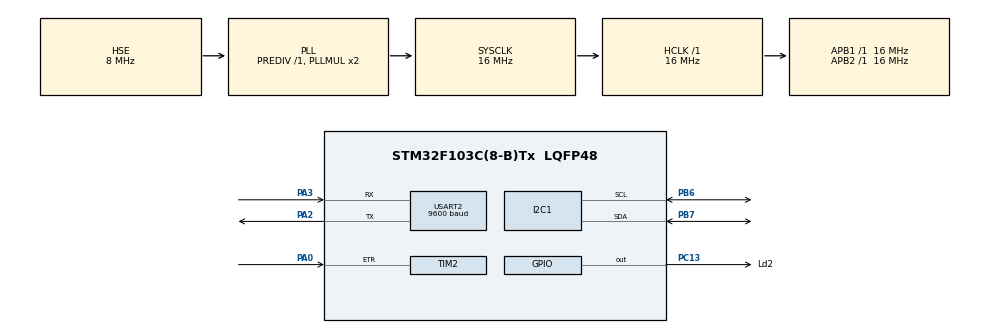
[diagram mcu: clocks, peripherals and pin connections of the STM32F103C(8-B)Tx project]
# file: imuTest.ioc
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I2C1.I2C_Mode=I2C_Fast
Mcu.Family=STM32F1
Mcu.Name=STM32F103C(8-B)Tx
Mcu.Package=LQFP48
NVIC.PriorityGroup=NVIC_PRIORITYGROUP_4
PA0-WKUP.Signal=S_TIM2_CH1_ETR
PA13.Mode=Serial_Wire
PA13.Signal=SYS_JTMS-SWDIO
PA14.Mode=Serial_Wire
PA14.Signal=SYS_JTCK-SWCLK
PA2.Mode=Asynchronous
PA2.Signal=USART2_TX
PA3.Mode=Asynchronous
PA3.Signal=USART2_RX
PB6.Mode=I2C
PB6.Signal=I2C1_SCL
PB7.Mode=I2C
PB7.Signal=I2C1_SDA
PC13-TAMPER-RTC.GPIO_Label=Ld2
PC13-TAMPER-RTC.Signal=GPIO_Output
PD0-OSC_IN.Mode=HSE-External-Oscillator
PD0-OSC_IN.Signal=RCC_OSC_IN
PD1-OSC_OUT.Mode=HSE-External-Oscillator
PD1-OSC_OUT.Signal=RCC_OSC_OUT
ProjectManager.HeapSize=0x200
ProjectManager.StackSize=0x400
ProjectManager.TargetToolchain=STM32CubeIDE
RCC.AHBFreq_Value=16000000
RCC.APB1Freq_Value=16000000
RCC.APB1TimFreq_Value=16000000
RCC.APB2Freq_Value=16000000
RCC.APB2TimFreq_Value=16000000
RCC.HCLKFreq_Value=16000000
RCC.PLLSourceVirtual=RCC_PLLSOURCE_HSE
RCC.SYSCLKFreq_VALUE=16000000
RCC.SYSCLKSource=RCC_SYSCLKSOURCE_PLLCLK
RCC.USBFreq_Value=16000000
SH.S_TIM2_CH1_ETR.0=TIM2_ETR,ClockSourceETR_Mode2
USART2.BaudRate=9600
USART2.VirtualMode=VM_ASYNC
VP_TIM1_VS_ClockSourceITR.Mode=TriggerSource_ITR0
board=custom

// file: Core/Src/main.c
/* USER CODE BEGIN Header */
/**
  ******************************************************************************
  * @file           : main.c
  * @brief          : Main program body
  ******************************************************************************
  * @attention
  *
  * Copyright (c) 2022 STMicroelectronics.
  * All rights reserved.
  *
  * This software is licensed under terms that can be found in the LICENSE file
  * in the root directory of this software component.
  * If no LICENSE file comes with this software, it is provided AS-IS.
  *
  ******************************************************************************
  */
/* USER CODE END Header */
#include "main.h"

/* USER CODE BEGIN Includes */
#include "stdio.h"
#include "string.h"
#include "math.h"
/* USER CODE END Includes */

I2C_HandleTypeDef hi2c1;

TIM_HandleTypeDef htim1;
TIM_HandleTypeDef htim2;

UART_HandleTypeDef huart2;

void SystemClock_Config(void);
static void MX_GPIO_Init(void);
static void MX_I2C1_Init(void);
static void MX_USART2_UART_Init(void);
static void MX_TIM1_Init(void);
static void MX_TIM2_Init(void);
/* USER CODE BEGIN PFP */
#ifdef _GNUC_
	#define PUTCHAR_PROTOTYPE int __io_putchar (int ch)
#else
	#define PUTCHAR_PROTOTYPE int fputc(int ch, FILE *f)
#endif

PUTCHAR_PROTOTYPE
{
	HAL_UART_Transmit(&huart2, (uint8_t *)&ch, 1, HAL_MAX_DELAY);
	return ch;
}
/* USER CODE END PFP */

/* USER CODE BEGIN 0 */
#define MPU6050_ADDR 0xD0
#define SMPLRT_DIV_REG 0x19
#define GYRO_CONFIG_REG 0x1B
#define ACCEL_CONFIG_REG 0x1C
#define ACCEL_XOUT_H_REG 0x3B
#define TEMP_OUT_H_REG 0x41
#define GYRO_XOUT_H_REG 0x43
#define PWR_MGMT_1_REG 0x6B
#define WHO_AM_I_REG 0x75

int16_t Accel_X_RAW = 0;
int16_t Accel_Y_RAW = 0;
int16_t Accel_Z_RAW = 0;

int16_t Gyro_X_RAW = 0;
int16_t Gyro_Y_RAW = 0;
int16_t Gyro_Z_RAW = 0;

float Ax, Ay, Az, Gx, Gy, Gz;
int milliSec;

void MPU6050_Init(void)
{
	uint8_t check;
	uint8_t Data;

	HAL_I2C_Mem_Read(&hi2c1, MPU6050_ADDR, WHO_AM_I_REG, 1, &check, 1, HAL_MAX_DELAY);

	if (check == 104)
	{
		Data = 0;
		HAL_I2C_Mem_Write(&hi2c1, MPU6050_ADDR, PWR_MGMT_1_REG, 1, &Data, 1, HAL_MAX_DELAY);

		Data = 0x07;
		HAL_I2C_Mem_Write(&hi2c1, MPU6050_ADDR, SMPLRT_DIV_REG, 1, &Data, 1, HAL_MAX_DELAY);

		Data = 0x00;
		HAL_I2C_Mem_Write(&hi2c1, MPU6050_ADDR, ACCEL_CONFIG_REG, 1, &Data, 1, HAL_MAX_DELAY);

		Data = 0x00;
		HAL_I2C_Mem_Write(&hi2c1, MPU6050_ADDR, GYRO_CONFIG_REG, 1, &Data, 1, HAL_MAX_DELAY);

	}
}

void MPU6050_Read_Accel(void)
{
	uint8_t Rec_Data[6];

	HAL_I2C_Mem_Read(&hi2c1, MPU6050_ADDR, ACCEL_XOUT_H_REG, 1, Rec_Data, 6, HAL_MAX_DELAY);

	Accel_X_RAW = (int16_t) (Rec_Data[0] << 8 | Rec_Data[1]);
	Accel_Y_RAW = (int16_t) (Rec_Data[2] << 8 | Rec_Data[3]);
	Accel_Z_RAW = (int16_t) (Rec_Data[4] << 8 | Rec_Data[5]);

	Ax = Accel_X_RAW / 16384.0;
	Ay = Accel_Y_RAW / 16384.0;
	Az = Accel_Z_RAW / 16384.0;
}

void MPU6050_Read_Gyro(void)
{
	uint8_t Rec_Data[6];

	HAL_I2C_Mem_Read(&hi2c1, MPU6050_ADDR, GYRO_XOUT_H_REG, 1, Rec_Data, 6, HAL_MAX_DELAY);

	Gyro_X_RAW = (int16_t) (Rec_Data[0] << 8 | Rec_Data[1]);
	Gyro_Y_RAW = (int16_t) (Rec_Data[2] << 8 | Rec_Data[3]);
	Gyro_Z_RAW = (int16_t) (Rec_Data[4] << 8 | Rec_Data[5]);

	Gx = Gyro_X_RAW / 131.0;
	Gy = Gyro_Y_RAW / 131.0;
	Gz = Gyro_Z_RAW / 131.0;
}

void HAL_TIM_PeriodElapsedCallback(TIM_HandleTypeDef* htim)
{
	HAL_GPIO_TogglePin(Ld2_GPIO_Port, Ld2_Pin);
	MPU6050_Read_Accel();
	MPU6050_Read_Gyro();

	milliSec +=1;
	while(milliSec >= 500)
	{
		printf("Gx: %f Gy: %f Gz: %f\n Ax: %f Ay: %f Az: %f\n ==============\n", Gx, Gy, Gz, Ax, Ay, Az);
		milliSec = 0;
	}
}

/* USER CODE END 0 */

int main(void)
{

  /* MCU Configuration--------------------------------------------------------*/

  /* Reset of all peripherals, Initializes the Flash interface and the Systick. */
  HAL_Init();

  /* Configure the system clock */
  SystemClock_Config();

  /* Initialize all configured peripherals */
  MX_GPIO_Init();
  MX_I2C1_Init();
  MX_USART2_UART_Init();
  MX_TIM1_Init();
  MX_TIM2_Init();
  /* USER CODE BEGIN 2 */
  MPU6050_Init();
  HAL_TIM_Base_Start_IT(&htim2);

  /* USER CODE END 2 */

  /* Infinite loop */
  while (1)
  {
	  HAL_TIM_PeriodElapsedCallback(&htim2);
  }
}

void SystemClock_Config(void)
{
  RCC_OscInitTypeDef RCC_OscInitStruct = {0};
  RCC_ClkInitTypeDef RCC_ClkInitStruct = {0};

  /** Initializes the RCC Oscillators according to the specified parameters
  * in the RCC_OscInitTypeDef structure.
  */
  RCC_OscInitStruct.OscillatorType = RCC_OSCILLATORTYPE_HSE;
  RCC_OscInitStruct.HSEState = RCC_HSE_ON;
  RCC_OscInitStruct.HSEPredivValue = RCC_HSE_PREDIV_DIV1;
  RCC_OscInitStruct.HSIState = RCC_HSI_ON;
  RCC_OscInitStruct.PLL.PLLState = RCC_PLL_ON;
  RCC_OscInitStruct.PLL.PLLSource = RCC_PLLSOURCE_HSE;
  RCC_OscInitStruct.PLL.PLLMUL = RCC_PLL_MUL2;
  if (HAL_RCC_OscConfig(&RCC_OscInitStruct) != HAL_OK)
  {
    Error_Handler();
  }
  /** Initializes the CPU, AHB and APB buses clocks
  */
  RCC_ClkInitStruct.ClockType = RCC_CLOCKTYPE_HCLK|RCC_CLOCKTYPE_SYSCLK
                              |RCC_CLOCKTYPE_PCLK1|RCC_CLOCKTYPE_PCLK2;
  RCC_ClkInitStruct.SYSCLKSource = RCC_SYSCLKSOURCE_PLLCLK;
  RCC_ClkInitStruct.AHBCLKDivider = RCC_SYSCLK_DIV1;
  RCC_ClkInitStruct.APB1CLKDivider = RCC_HCLK_DIV1;
  RCC_ClkInitStruct.APB2CLKDivider = RCC_HCLK_DIV1;

  if (HAL_RCC_ClockConfig(&RCC_ClkInitStruct, FLASH_LATENCY_0) != HAL_OK)
  {
    Error_Handler();
  }
}

static void MX_I2C1_Init(void)
{

  hi2c1.Instance = I2C1;
  hi2c1.Init.ClockSpeed = 400000;
  hi2c1.Init.DutyCycle = I2C_DUTYCYCLE_2;
  hi2c1.Init.OwnAddress1 = 0;
  hi2c1.Init.AddressingMode = I2C_ADDRESSINGMODE_7BIT;
  hi2c1.Init.DualAddressMode = I2C_DUALADDRESS_DISABLE;
  hi2c1.Init.OwnAddress2 = 0;
  hi2c1.Init.GeneralCallMode = I2C_GENERALCALL_DISABLE;
  hi2c1.Init.NoStretchMode = I2C_NOSTRETCH_DISABLE;
  if (HAL_I2C_Init(&hi2c1) != HAL_OK)
  {
    Error_Handler();
  }

}

static void MX_TIM1_Init(void)
{

  TIM_SlaveConfigTypeDef sSlaveConfig = {0};
  TIM_MasterConfigTypeDef sMasterConfig = {0};

  htim1.Instance = TIM1;
  htim1.Init.Prescaler = 0;
  htim1.Init.CounterMode = TIM_COUNTERMODE_UP;
  htim1.Init.Period = 65535;
  htim1.Init.ClockDivision = TIM_CLOCKDIVISION_DIV1;
  htim1.Init.RepetitionCounter = 0;
  htim1.Init.AutoReloadPreload = TIM_AUTORELOAD_PRELOAD_DISABLE;
  if (HAL_TIM_Base_Init(&htim1) != HAL_OK)
  {
    Error_Handler();
  }
  sSlaveConfig.SlaveMode = TIM_SLAVEMODE_DISABLE;
  sSlaveConfig.InputTrigger = TIM_TS_ITR0;
  if (HAL_TIM_SlaveConfigSynchro(&htim1, &sSlaveConfig) != HAL_OK)
  {
    Error_Handler();
  }
  sMasterConfig.MasterOutputTrigger = TIM_TRGO_RESET;
  sMasterConfig.MasterSlaveMode = TIM_MASTERSLAVEMODE_DISABLE;
  if (HAL_TIMEx_MasterConfigSynchronization(&htim1, &sMasterConfig) != HAL_OK)
  {
    Error_Handler();
  }

}

static void MX_TIM2_Init(void)
{

  TIM_ClockConfigTypeDef sClockSourceConfig = {0};
  TIM_MasterConfigTypeDef sMasterConfig = {0};

  htim2.Instance = TIM2;
  htim2.Init.Prescaler = 0;
  htim2.Init.CounterMode = TIM_COUNTERMODE_UP;
  htim2.Init.Period = 65535;
  htim2.Init.ClockDivision = TIM_CLOCKDIVISION_DIV1;
  htim2.Init.AutoReloadPreload = TIM_AUTORELOAD_PRELOAD_DISABLE;
  if (HAL_TIM_Base_Init(&htim2) != HAL_OK)
  {
    Error_Handler();
  }
  sClockSourceConfig.ClockSource = TIM_CLOCKSOURCE_ETRMODE2;
  sClockSourceConfig.ClockPolarity = TIM_CLOCKPOLARITY_NONINVERTED;
  sClockSourceConfig.ClockPrescaler = TIM_CLOCKPRESCALER_DIV1;
  sClockSourceConfig.ClockFilter = 0;
  if (HAL_TIM_ConfigClockSource(&htim2, &sClockSourceConfig) != HAL_OK)
  {
    Error_Handler();
  }
  sMasterConfig.MasterOutputTrigger = TIM_TRGO_RESET;
  sMasterConfig.MasterSlaveMode = TIM_MASTERSLAVEMODE_DISABLE;
  if (HAL_TIMEx_MasterConfigSynchronization(&htim2, &sMasterConfig) != HAL_OK)
  {
    Error_Handler();
  }

}

static void MX_USART2_UART_Init(void)
{

  huart2.Instance = USART2;
  huart2.Init.BaudRate = 9600;
  huart2.Init.WordLength = UART_WORDLENGTH_8B;
  huart2.Init.StopBits = UART_STOPBITS_1;
  huart2.Init.Parity = UART_PARITY_NONE;
  huart2.Init.Mode = UART_MODE_TX_RX;
  huart2.Init.HwFlowCtl = UART_HWCONTROL_NONE;
  huart2.Init.OverSampling = UART_OVERSAMPLING_16;
  if (HAL_UART_Init(&huart2) != HAL_OK)
  {
    Error_Handler();
  }

}

static void MX_GPIO_Init(void)
{
  GPIO_InitTypeDef GPIO_InitStruct = {0};

  /* GPIO Ports Clock Enable */
  __HAL_RCC_GPIOC_CLK_ENABLE();
  __HAL_RCC_GPIOD_CLK_ENABLE();
  __HAL_RCC_GPIOA_CLK_ENABLE();
  __HAL_RCC_GPIOB_CLK_ENABLE();

  /*Configure GPIO pin Output Level */
  HAL_GPIO_WritePin(GPIOC, GPIO_PIN_13, GPIO_PIN_RESET);

  /*Configure GPIO pin : PC13 */
  GPIO_InitStruct.Pin = GPIO_PIN_13;
  GPIO_InitStruct.Mode = GPIO_MODE_OUTPUT_PP;
  GPIO_InitStruct.Pull = GPIO_NOPULL;
  GPIO_InitStruct.Speed = GPIO_SPEED_FREQ_LOW;
  HAL_GPIO_Init(GPIOC, &GPIO_InitStruct);

}

void Error_Handler(void)
{
  __disable_irq();
  while (1)
  {
  }
}
